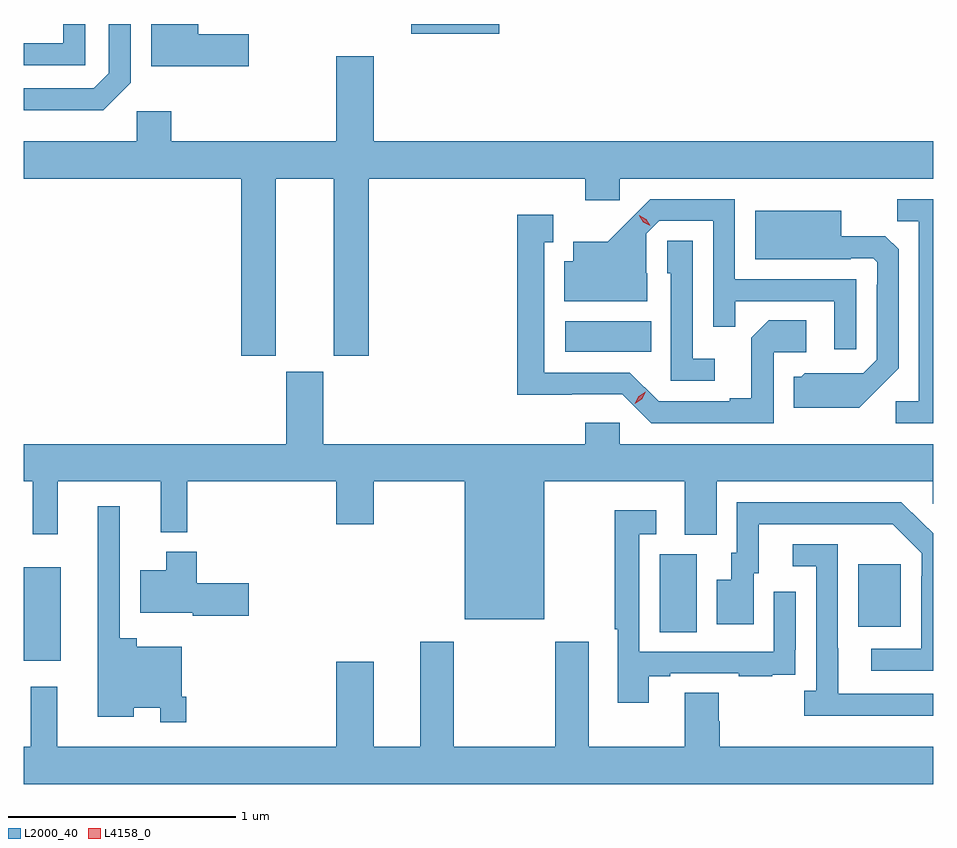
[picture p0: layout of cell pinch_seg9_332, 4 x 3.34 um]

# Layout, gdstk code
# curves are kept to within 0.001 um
import gdstk
lib = gdstk.Library(unit=1e-6, precision=1e-09)
def R(c, l, rs):  # rectangles x0, y0, x1, y1
    for r in rs: c.add(gdstk.rectangle(r[:2], r[2:], *l))
def P(c, l, *ps):  # polygons
    for p in ps: c.add(gdstk.Polygon(p, *l))
L2000_40 = (2000, 40)
L4158_0 = (4158, 0)

pinch_seg9_332 = lib.new_cell('pinch_seg9_332')
R(pinch_seg9_332, L2000_40, [(619.177,1202.291,619.339,1202.701), (621.974,1202.416,622.138,1202.76), (622.847,1202.441,623.035,1202.716), (621.558,1203.65,621.938,1203.784), (620.88,1205.05,621.268,1205.092)])
P(pinch_seg9_332, L2000_40, [(619.446,1205.092),(619.35,1205.092),(619.35,1205.007),(619.177,1205.007),(619.177,1204.911),(619.446,1204.911)],
  [(619.647,1204.833),(619.647,1205.092),(619.551,1205.092),(619.551,1204.875),(619.485,1204.809),(619.177,1204.809),(619.177,1204.712),(619.526,1204.712)],
  [(620.167,1205.048),(619.943,1205.048),(619.943,1205.092),(619.736,1205.092),(619.736,1204.906),(620.167,1204.906)],
  [(620.284,1204.412),(620.54,1204.412),(620.54,1203.633),(620.693,1203.633),(620.693,1204.412),(621.647,1204.412),(621.647,1204.317),(621.798,1204.317),(621.798,1204.412),(623.177,1204.412),(623.177,1204.576),(620.716,1204.576),(620.716,1204.951),(620.552,1204.951),(620.552,1204.576),(619.826,1204.576),(619.826,1204.708),(619.674,1204.708),(619.674,1204.576),(619.177,1204.576),(619.177,1204.412),(620.132,1204.412),(620.132,1203.633),(620.284,1203.633)],
  [(623.177,1204.32),(623.02,1204.32),(623.02,1204.225),(623.115,1204.225),(623.115,1203.432),(623.013,1203.432),(623.013,1203.336),(623.177,1203.336)],
  [(622.839,1203.969),(622.305,1203.969),(622.305,1204.32),(621.932,1204.32),(621.745,1204.135),(621.593,1204.135),(621.593,1204.048),(621.554,1204.048),(621.554,1203.872),(621.919,1203.872),(621.919,1203.996),(621.915,1203.996),(621.915,1204.17),(621.972,1204.227),(622.209,1204.227),(622.209,1203.76),(622.307,1203.76),(622.307,1203.873),(622.743,1203.873),(622.743,1203.66),(622.839,1203.66)],
  [(622.933,1203.485),(623.025,1203.578),(623.025,1204.1),(622.966,1204.159),(622.774,1204.159),(622.774,1204.27),(622.394,1204.27),(622.394,1204.058),(622.814,1204.058),(622.814,1204.062),(622.914,1204.062),(622.932,1204.044),(622.932,1203.944),(622.929,1203.944),(622.929,1203.615),(622.869,1203.555),(622.612,1203.556),(622.596,1203.54),(622.565,1203.54),(622.565,1203.404),(622.853,1203.404)],
  [(622.476,1203.648),(622.618,1203.648),(622.618,1203.788),(622.453,1203.788),(622.377,1203.712),(622.377,1203.445),(622.283,1203.445),(622.283,1203.432),(621.969,1203.432),(621.843,1203.558),(621.466,1203.558),(621.466,1204.131),(621.505,1204.131),(621.505,1204.252),(621.348,1204.252),(621.348,1203.461),(621.81,1203.462),(621.936,1203.336),(622.476,1203.336)],
  [(622.216,1203.619),(622.119,1203.619),(622.119,1204.139),(622.008,1204.139),(622.008,1203.996),(622.023,1203.996),(622.023,1203.522),(622.216,1203.522)],
  [(621.466,1203.08),(622.085,1203.08),(622.085,1202.845),(622.225,1202.845),(622.225,1203.08),(623.175,1203.08),(623.175,1202.982),(623.177,1202.982),(623.177,1203.244),(621.798,1203.244),(621.798,1203.337),(621.647,1203.337),(621.647,1203.244),(620.494,1203.244),(620.494,1203.561),(620.33,1203.561),(620.33,1203.244),(619.177,1203.244),(619.177,1203.08),(619.215,1203.08),(619.215,1202.847),(619.325,1202.847),(619.325,1203.08),(619.778,1203.08),(619.778,1202.855),(619.895,1202.855),(619.895,1203.08),(620.552,1203.08),(620.552,1202.892),(620.716,1202.892),(620.716,1203.08),(621.116,1203.08),(621.116,1202.474),(621.466,1202.474)],
  [(623.177,1202.851),(623.038,1202.988),(622.314,1202.988),(622.314,1202.766),(622.289,1202.766),(622.289,1202.647),(622.226,1202.647),(622.226,1202.451),(622.387,1202.451),(622.387,1202.676),(622.411,1202.676),(622.411,1202.892),(622.999,1202.892),(623.127,1202.763),(623.127,1202.663),(623.124,1202.663),(623.124,1202.343),(622.905,1202.343),(622.905,1202.247),(623.177,1202.247)],
  [(619.892,1202.131),(619.872,1202.131),(619.872,1202.353),(619.673,1202.353),(619.673,1202.389),(619.599,1202.389),(619.599,1202.971),(619.502,1202.971),(619.502,1202.045),(619.66,1202.045),(619.66,1202.084),(619.776,1202.084),(619.776,1202.019),(619.892,1202.019)],
  [(621.925,1202.223),(622.021,1202.223),(622.021,1202.235),(622.321,1202.235),(622.321,1202.223),(622.469,1202.223),(622.469,1202.229),(622.571,1202.229),(622.571,1202.338),(622.572,1202.338),(622.572,1202.593),(622.476,1202.593),(622.476,1202.331),(621.885,1202.331),(621.885,1202.847),(621.958,1202.847),(621.958,1202.953),(621.777,1202.953),(621.777,1202.428),(621.789,1202.428),(621.789,1202.106),(621.925,1202.106)],
  [(623.177,1202.145),(622.759,1202.145),(622.759,1202.345),(622.758,1202.345),(622.758,1202.802),(622.56,1202.802),(622.56,1202.706),(622.662,1202.706),(622.662,1202.158),(622.611,1202.158),(622.611,1202.048),(623.177,1202.048)],
  [(620.167,1202.631),(619.937,1202.631),(619.937,1202.77),(619.802,1202.77),(619.802,1202.689),(619.688,1202.689),(619.688,1202.501),(619.92,1202.501),(619.92,1202.489),(620.167,1202.489)],
  [(623.177,1201.912),(622.238,1201.912),(622.238,1202.025),(622.233,1202.025),(622.233,1202.15),(622.085,1202.15),(622.085,1201.912),(621.661,1201.912),(621.661,1202.374),(621.514,1202.374),(621.514,1201.912),(621.069,1201.912),(621.069,1202.374),(620.921,1202.374),(620.921,1201.912),(620.716,1201.912),(620.716,1202.287),(620.552,1202.287),(620.552,1201.912),(619.324,1201.912),(619.324,1202.176),(619.207,1202.176),(619.207,1201.912),(619.177,1201.912),(619.177,1201.748),(623.177,1201.748)])
P(pinch_seg9_332, L4158_0, [(621.933,1204.204),(621.902,1204.22),(621.885,1204.249),(621.885,1204.25),(621.885,1204.25),(621.916,1204.234),(621.933,1204.204),(621.933,1204.204)],
  [(621.864,1203.422),(621.864,1203.422),(621.881,1203.455),(621.913,1203.475),(621.913,1203.475),(621.913,1203.475),(621.896,1203.442),(621.864,1203.422)])

lib.write_gds('pinch_seg9_332.gds')
